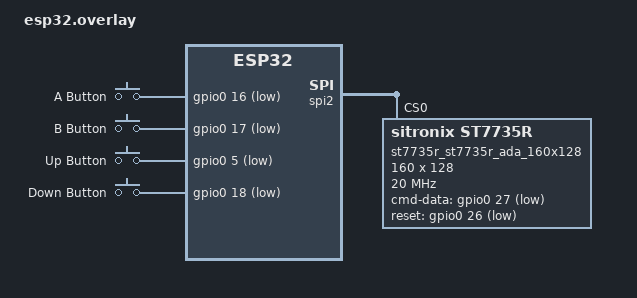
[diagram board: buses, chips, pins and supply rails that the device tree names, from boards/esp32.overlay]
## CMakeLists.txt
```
cmake_minimum_required(VERSION 3.20.0)

find_package(Zephyr REQUIRED HINTS $ENV{ZEPHYR_BASE})
find_package(etl REQUIRED)

FILE(GLOB app_sources src/*.cpp)
target_sources(app PRIVATE ${app_sources})
project(gb_emu)

zephyr_include_directories(../modules/etl)
# include_directories(
#     ../emu_core/inc
#     ../emu_core/src
# )

target_link_libraries(app PRIVATE etl::etl)
target_sources(app PRIVATE src/main.cpp)
# ../emu_core/src/cpu.cpp
# ../emu_core/src/registers.cpp
# ../emu_core/src/process.cpp
# ../emu_core/src/instructions.cpp
# ../emu_core/src/cart.cpp
# )
# add_library(etl::etl STATIC IMPORTED GLOBAL)
# set_target_properties(etl::etl PROPERTIES IMPORTED_LOCATION ${LIB_DIR}/OtherLib.a)
```

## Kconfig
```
source "Kconfig.zephyr"

config METHOD_USE_STAGING
	bool "Point the device at the staging environment"
	default n


config METHOD_HUB_DEVICE_ENABLED
	bool "Replace the device implementation with mocks"
	default n


config METHOD_HUB_CLOUD_ENABLED
	bool "Replace the cloud implementation with mocks"
	default n


config METHOD_HUB_STORAGE_ENABLED
	bool "Replace the storage implementation with mocks"
	default n


config METHOD_HUB_AUX_ENABLED
	bool "Replace the aux implementation with mocks"
	default n


config METHOD_MOCK_ELMO
	bool "Replace the elmo implementation with mocks"
	default n


config METHOD_MOCK_GPB100D
	bool "Replace the gpb100d implementation with mocks"
	default n
```

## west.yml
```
# The west manifest file for upstream Zephyr.
#
# The per-installation west configuration file, .west/config, sets the
# path to the project containing this file in the [manifest] section's
# "path" variable.
#
# You are free to create your own manifest files and put them in any
# repository you want, to create your own custom Zephyr installations.
# For example, you could create a manifest file in your own out of
# tree application directory, which would pull this zephyr repository
# in as an ordinary project.
#
# You can pass your manifest repositories to west init when creating a
# new Zephyr installation. See the west documentation for more
# information.

manifest:
  defaults:
    remote: upstream

  remotes:
    - name: upstream
      url-base: https://github.com/zephyrproject-rtos
    - name: babblesim
      url-base: https://github.com/BabbleSim
    - name: etl
      url-base: https://github.com/ETLCPP

  group-filter: [-babblesim]

  #
  # Please add items below based on alphabetical order
  projects:
    - name: bsim
      repo-path: babblesim-manifest
      revision: 384a091445c57b44ac8cbd18ebd245b47c71db94
      path: tools/bsim
      groups:
        - babblesim
    - name: babblesim_base
      remote: babblesim
      repo-path: base.git
      path: tools/bsim/components
      revision: 19d62424c0802c6c9fc15528febe666e40f372a1
      groups:
        - babblesim
    - name: babblesim_ext_2G4_libPhyComv1
      remote: babblesim
      repo-path: ext_2G4_libPhyComv1.git
      path: tools/bsim/components/ext_2G4_libPhyComv1
      revision: 9018113a362fa6c9e8f4b9cab9e5a8f12cc46b94
      groups:
        - babblesim
    - name: babblesim_ext_2G4_phy_v1
      remote: babblesim
      repo-path: ext_2G4_phy_v1.git
      path: tools/bsim/components/ext_2G4_phy_v1
      revision: d47c6dd90035b41b14f6921785ccb7b8484868e2
      groups:
        - babblesim
    - name: babblesim_ext_2G4_channel_NtNcable
      remote: babblesim
      repo-path: ext_2G4_channel_NtNcable.git
      path: tools/bsim/components/ext_2G4_channel_NtNcable
      revision: 20a38c997f507b0aa53817aab3d73a462fff7af1
      groups:
        - babblesim
    - name: babblesim_ext_2G4_channel_multiatt
      remote: babblesim
      repo-path: ext_2G4_channel_multiatt.git
      path: tools/bsim/components/ext_2G4_channel_multiatt
      revision: bde72a57384dde7a4310bcf3843469401be93074
      groups:
        - babblesim
    - name: babblesim_ext_2G4_modem_magic
      remote: babblesim
      repo-path: ext_2G4_modem_magic.git
      path: tools/bsim/components/ext_2G4_modem_magic
      revision: cb70771794f0bf6f262aa474848611c68ae8f1ed
      groups:
        - babblesim
    - name: babblesim_ext_2G4_modem_BLE_simple
      remote: babblesim
      repo-path: ext_2G4_modem_BLE_simple.git
      path: tools/bsim/components/ext_2G4_modem_BLE_simple
      revision: 809ab073159c9ab6686c2fea5749b0702e0909f7
      groups:
        - babblesim
    - name: babblesim_ext_2G4_device_burst_interferer
      remote: babblesim
      repo-path: ext_2G4_device_burst_interferer.git
      path: tools/bsim/components/ext_2G4_device_burst_interferer
      revision: 5b5339351d6e6a2368c686c734dc8b2fc65698fc
      groups:
        - babblesim
    - name: babblesim_ext_2G4_device_WLAN_actmod
      remote: babblesim
      repo-path: ext_2G4_device_WLAN_actmod.git
      path: tools/bsim/components/ext_2G4_device_WLAN_actmod
      revision: 9cb6d8e72695f6b785e57443f0629a18069d6ce4
      groups:
        - babblesim
    - name: babblesim_ext_2G4_device_playback
      remote: babblesim
      repo-path: ext_2G4_device_playback.git
      path: tools/bsim/components/ext_2G4_device_playback
      revision: 85c645929cf1ce995d8537107d9dcbd12ed64036
      groups:
        - babblesim
    - name: babblesim_ext_libCryptov1
      remote: babblesim
      repo-path: ext_libCryptov1.git
      path: tools/bsim/components/ext_libCryptov1
      revision: eed6d7038e839153e340bd333bc43541cb90ba64
      groups:
        - babblesim
    - name: canopennode
      revision: dec12fa3f0d790cafa8414a4c2930ea71ab72ffd
      path: modules/lib/canopennode
    - name: chre
      revision: b7955c27e50485b7dafdc3888d7d6afdc2ac6d96
      path: modules/lib/chre
    - name: cmsis
      revision: 74981bf893e8b10931464b9945e2143d99a3f0a3
      path: modules/hal/cmsis
      groups:
        - hal
    - name: edtt
      revision: 64e5105ad82390164fb73fc654be3f73a608209a
      path: tools/edtt
      groups:
        - tools
    - name: fatfs
      revision: 427159bf95ea49b7680facffaa29ad506b42709b
      path: modules/fs/fatfs
      groups:
        - fs
    - name: hal_altera
      revision: 0d225ddd314379b32355a00fb669eacf911e750d
      path: modules/hal/altera
      groups:
        - hal
    - name: hal_atmel
      revision: 5ab43007eda3f380c125f957f03638d2e8d1144d
      path: modules/hal/atmel
      groups:
        - hal
    - name: hal_espressif
      revision: 9531c1c17873aa4935f85864ebafd20c02062a8f
      path: modules/hal/espressif
      west-commands: west/west-commands.yml
      groups:
        - hal
    - name: hal_ethos_u
      revision: 90ada2ea5681b2a2722a10d2898eac34c2510791
      path: modules/hal/ethos_u
      groups:
        - hal
    - name: hal_gigadevice
      revision: 2994b7dde8b0b0fa9b9c0ccb13474b6a486cddc3
      path: modules/hal/gigadevice
      groups:
        - hal
    - name: hal_infineon
      revision: 0bebc14d8bd1a249ee7fbc70b37db6f01f72544f
      path: modules/hal/infineon
      groups:
        - hal
    - name: hal_microchip
      revision: 5d079f1683a00b801373bbbbf5d181d4e33b30d5
      path: modules/hal/microchip
      groups:
        - hal
    - name: hal_nordic
      revision: a1c3e0fbaafda091139b8744becd4853ada2f747
      path: modules/hal/nordic
      groups:
        - hal
    - name: hal_nuvoton
      revision: 8a2b5de1670b59fcacd20d7495cb1c0f26fbe7bd
      path: modules/hal/nuvoton
      groups:
        - hal
    - name: hal_nxp
      revision: 904830e8f684a9fd573751a1cdecde877ec49242
      path: modules/hal/nxp
      groups:
        - hal
    - name: hal_openisa
      revision: d1e61c0c654d8ca9e73d27fca3a7eb3b7881cb6a
      path: modules/hal/openisa
      groups:
        - hal
    - name: hal_quicklogic
      revision: b3a66fe6d04d87fd1533a5c8de51d0599fcd08d0
      path: modules/hal/quicklogic
      repo-path: hal_quicklogic
      groups:
        - hal
    - name: hal_renesas
      path: modules/hal/renesas
      revision: f2d791d28cd8fdbc5861652b863822632c91f690
      groups:
        - hal
    - name: hal_rpi_pico
      path: modules/hal/rpi_pico
      revision: b7801e4db6a62ea2d37bbef7880c3d056530c9bf
      groups:
        - hal
    - name: hal_silabs
      revision: a143f03e846eb1b7b3135f3c8192820ce1b6d9c4
      path: modules/hal/silabs
      groups:
        - hal
    - name: hal_st
      revision: 5948f7b3304f1628a45ee928cd607619a7f53bbb
      path: modules/hal/st
      groups:
        - hal
    - name: hal_stm32
      revision: c865374fc83d93416c0f380e6310368ff55d6ce2
      path: modules/hal/stm32
      groups:
        - hal
    - name: hal_telink
      revision: 38573af589173259801ae6c2b34b7d4c9e626746
      path: modules/hal/telink
      groups:
        - hal
    - name: hal_ti
      revision: ae1db23f32dde779cdfc4afaa9a60ea219310a64
      path: modules/hal/ti
      groups:
        - hal
    - name: hal_wurthelektronik
      revision: 24ca9873c3d608fad1fea0431836bc8f144c132e
      path: modules/hal/wurthelektronik
      groups:
        - hal
    - name: hal_xtensa
      revision: 41a631d4aeeeaedc0daece21eecc338807296ad7
      path: modules/hal/xtensa
      groups:
        - hal
    - name: libmetal
      revision: b91611a6f47dd29fb24c46e5621e797557f80ec6
      path: modules/hal/libmetal
      groups:
        - hal
    - name: liblc3
      revision: 448f3de31f49a838988a162ef1e23a89ddf2d2ed
      path: modules/lib/liblc3
    - name: littlefs
      path: modules/fs/littlefs
      groups:
        - fs
      revision: ca583fd297ceb48bced3c2548600dc615d67af24
    - name: loramac-node
      revision: ce57712f3e426bbbb13acaec97b45369f716f43a
      path: modules/lib/loramac-node
    - name: lvgl
      revision: 7102083f626cda09e5792420ea60af0525cce9ae
      path: modules/lib/gui/lvgl
    - name: lz4
      revision: 8e303c264fc21c2116dc612658003a22e933124d
      path: modules/lib/lz4
    - name: mbedtls
      revision: 6e7841e5a08eb5da3c82dbc8b6b6d82ae4b7d2a0
      path: modules/crypto/mbedtls
      groups:
        - crypto
    - name: mcuboot
      revision: 74c4d1c52fd51d07904b27a7aa9b2303e896a4e3
      path: bootloader/mcuboot
    - name: mipi-sys-t
      path: modules/debug/mipi-sys-t
      groups:
        - debug
      revision: a819419603a2dfcb47f7f39092e1bc112e45d1ef
    - name: nanopb
      revision: 42fa8b211e946b90b9d968523fce7b1cfe27617e
      path: modules/lib/nanopb
    - name: net-tools
      revision: e0828aa9629b533644dc96ff6d1295c939bd713c
      path: tools/net-tools
      groups:
        - tools
    - name: nrf_hw_models
      revision: 37c571ef7c4a86dad852566fc43eb36f42534e9f
      path: modules/bsim_hw_models/nrf_hw_models
    - name: open-amp
      revision: c904a01d4a882bcbb39987e0e2ce5308f49ac7ad
      path: modules/lib/open-amp
    - name: openthread
      revision: d9abe3071c0131a4adb5d7e7451319b735e6d855
      path: modules/lib/openthread
    - name: picolibc
      path: modules/lib/picolibc
      revision: d07c38ff051386f8e09a143ea0a6c1d6d66dd1d8
    - name: segger
      revision: 4bfaf28a11c3e5ec29badac744fab6d2f342749e
      path: modules/debug/segger
      groups:
        - debug
    - name: sof
      revision: ffbf9c2a6ea2930b0ac7e3a37c7cd7f5c417d090
      path: modules/audio/sof
    - name: tflite-micro
      revision: 9156d050927012da87079064db59d07f03b8baf6
      path: modules/lib/tflite-micro
      repo-path: tflite-micro
    - name: tinycrypt
      revision: 3e9a49d2672ec01435ffbf0d788db6d95ef28de0
      path: modules/crypto/tinycrypt
      groups:
        - crypto
    - name: TraceRecorderSource
      revision: bc839bf94904bcdb91b33760e918afbef82e3ab4
      path: modules/debug/TraceRecorder
      groups:
        - debug
    - name: trusted-firmware-m
      revision: 79a6115d3a8d0e04864ae8156c1dc8532b750f5a
      path: modules/tee/tf-m/trusted-firmware-m
      groups:
        - tee
    - name: trusted-firmware-a
      revision: 421dc050278287839f5c70019bd6aec617f2bbdb
      path: modules/tee/tf-a/trusted-firmware-a
      groups:
        - tee
    - name: tf-m-tests
      revision: 0f80a65193ddbbe3f0ac38b33b07b26138c11fa7
      path: modules/tee/tf-m/tf-m-tests
      groups:
        - tee
    - name: psa-arch-tests
      revision: 6a17330e0dfb5f319730f974d5b05f7b7f04757b
      path: modules/tee/tf-m/psa-arch-tests
      groups:
        - tee
    - name: uoscore-uedhoc
      revision: e8920192b66db4f909eb9cd3f155d5245c1ae825
      path: modules/lib/uoscore-uedhoc
    - name: zcbor
      revision: 67fd8bb88d3136738661fa8bb5f9989103f4599e
      path: modules/lib/zcbor
    - name: zscilib
      path: modules/lib/zscilib
      revision: 34c3432e81085bb717e4871d21ca419ae0058ec5
    - name: thrift
      path: modules/lib/thrift
      revision: 10023645a0e6cb7ce23fcd7fd3dbac9f18df6234
    - name: etl
      remote: etl
      repo-path: etl
      revision: 20.36.1
      path: modules/etl

  self:
    path: zephyr
    west-commands: scripts/west-commands.yml
    import: submanifests
```

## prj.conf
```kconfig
CONFIG_CPP=y
CONFIG_LIB_CPLUSPLUS=y
CONFIG_NEWLIB_LIBC=y

# Display
CONFIG_DISPLAY=y
CONFIG_DISPLAY_LOG_LEVEL_ERR=y

CONFIG_LVGL=y
CONFIG_LV_MEM_CUSTOM=n
CONFIG_LV_USE_LOG=y
CONFIG_LV_USE_LABEL=y
CONFIG_LV_USE_BTN=y
# CONFIG_LV_USE_IMG=y
CONFIG_LV_FONT_MONTSERRAT_34=y
CONFIG_LV_FONT_MONTSERRAT_20=y
CONFIG_LV_COLOR_16_SWAP=y

# System config
CONFIG_MAIN_STACK_SIZE=2048
CONFIG_LOG=y

CONFIG_CONSOLE=y
CONFIG_UART_CONSOLE=y
CONFIG_UART_LINE_CTRL=y
```

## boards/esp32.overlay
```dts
/*
 * Copyright (c) 2020, Kim Bøndergaard, <kim@fam-boendergaard.dk>
 *
 * SPDX-License-Identifier: Apache-2.0
 */

 / {
	chosen {
		zephyr,display = &st7735r_st7735r_ada_160x128;
	};
	buttons {
		compatible = "gpio-keys";
		a_button: a_button {
			gpios = <&gpio0 16 GPIO_ACTIVE_LOW>;
			label = "A Button";
		};
		b_button: b_button {
			gpios = <&gpio0 17 GPIO_ACTIVE_LOW>;
			label = "B Button";
		};
		up_button: up_button {
			gpios = <&gpio0 5 GPIO_ACTIVE_LOW>;
			label = "Up Button";
		};
		down_button: down_button {
			gpios = <&gpio0 18 GPIO_ACTIVE_LOW>;
			label = "Down Button";
		};
	};
};

&spi2 {
	st7735r_st7735r_ada_160x128: st7735r@0 {
		compatible = "sitronix,st7735r";
		spi-max-frequency = <20000000>;
		reg = <0>;
		cmd-data-gpios = <&gpio0 27 GPIO_ACTIVE_LOW>;	/* D9 */
		reset-gpios = <&gpio0 26 GPIO_ACTIVE_LOW>;	/* D8 */
		width = <160>;
		height = <128>;
		x-offset = <0>;
		y-offset = <0>;
		madctl = <0x60>;
		colmod = <0x55>;
		vmctr1 = <0x0e>;
		pwctr1 = [a2 02 84];
		pwctr2 = [c5];
		pwctr3 = [0a 00];
		pwctr4 = [8a 2a];
		pwctr5 = [8a ee];
		frmctr1 = [01 2c 2d];
		frmctr2 = [01 2c 2d];
		frmctr3 = [01 2c 2d 01 2c 2d];
		gamctrp1 = [02 1c 07 12 37 32 29 2d 29 25 2b 39 00 01 03 10];
		gamctrn1 = [03 1d 07 06 2e 2c 29 2d 2e 2e 37 3f 00 00 02 10];
	};
};

&pinctrl {
	spim2_default: spim2_default {
		group1 {
			pinmux = <SPIM2_MISO_GPIO12>,
					<SPIM2_SCLK_GPIO14>,
					<SPIM2_CSEL_GPIO15>;
		};
		group2 {
			pinmux = <SPIM2_MOSI_GPIO13>;
			output-low;
		};
	};
};
```

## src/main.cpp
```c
#include <zephyr/kernel.h>
#include <zephyr/logging/log.h>
LOG_MODULE_REGISTER(main, LOG_LEVEL_INF);

#include "../inc/display.hh"
#include "../inc/controls.hh"
#include "../inc/engine.hh"


int main(void)
{
	Controls controls { };
	Display  display  { };
	Engine   engine   { &controls, &display };

	while (1)
	{
		engine.process();
		k_msleep(1);
	}
	return 0;
}
```

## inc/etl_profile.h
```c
#pragma once

#define ETL_NO_STL
#define ETL_CPP11_SUPPORTED
// #define ETL_CPP14_SUPPORTED
// #define ETL_CPP17_SUPPORTED
```

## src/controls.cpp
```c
#include "../inc/controls.hh"
#include <zephyr/kernel.h>
#include <zephyr/logging/log.h>
LOG_MODULE_REGISTER(controls, LOG_LEVEL_DBG);



etl::queue<Controls::InputType, Controls::INPUT_QUEUE_SIZE> Controls::input_queue { };
Controls::TriggerType           Controls::trigger_mapping[InputType::NUM_INPUTS]  {
    // Controls::TriggerType::ONE_SHOT,
    // Controls::TriggerType::ONE_SHOT,
    Controls::TriggerType::PERIODIC,
    Controls::TriggerType::PERIODIC,
    Controls::TriggerType::PERIODIC,
    Controls::TriggerType::PERIODIC,
    Controls::TriggerType::PERIODIC,
    Controls::TriggerType::PERIODIC
};

struct gpio_callback            Controls::cb_data[InputType::NUM_INPUTS]    { };
struct k_timer                  Controls::button_timers[InputType::NUM_INPUTS]    { };

struct gpio_dt_spec Controls::button[InputType::NUM_INPUTS] {
    GPIO_DT_SPEC_GET(DT_NODELABEL(a_button), gpios),
    GPIO_DT_SPEC_GET(DT_NODELABEL(b_button), gpios),
    GPIO_DT_SPEC_GET(DT_NODELABEL(up_button), gpios),
    GPIO_DT_SPEC_GET(DT_NODELABEL(down_button), gpios)
};

uint64_t Controls::last_time[InputType::NUM_INPUTS] {};

#define DEBOUNCE_TIMEOUT_MS 150
#define TIMER_RETRIGGER_MS 50


/*
    Button timer handlers
*/
void Controls::timer_handler(Controls::InputType input)
{
    Controls::input_queue.push(input);

    if(!gpio_pin_get_dt(&button[input]))
    {
        k_timer_stop(&button_timers[input]);
    }
}


void Controls::a_button_timer_handler(struct k_timer *dummy)
{
    Controls::timer_handler(InputType::A);
}


void Controls::b_button_timer_handler(struct k_timer *dummy)
{
   Controls::timer_handler(InputType::B);
}


void Controls::up_button_timer_handler(struct k_timer *dummy)
{
   Controls::timer_handler(InputType::UP);
}


void Controls::down_button_timer_handler(struct k_timer *dummy)
{
   Controls::timer_handler(InputType::DOWN);
}


void Controls::clear_queue()
{
}


Controls::Controls()
{
    if (device_is_ready(button[Controls::InputType::A].port))
    {
        int ret = gpio_pin_configure_dt(&button[Controls::InputType::A], GPIO_INPUT);

        ret = gpio_pin_interrupt_configure_dt(&button[Controls::InputType::A], GPIO_INT_EDGE_TO_ACTIVE);
        gpio_init_callback(&cb_data[InputType::A], this->a_button_pressed , BIT(button[Controls::InputType::A].pin));
        gpio_add_callback(button[Controls::InputType::A].port, &cb_data[InputType::A]);
        k_timer_init(&Controls::button_timers[Controls::InputType::A], a_button_timer_handler, NULL);
    }

    if (device_is_ready(button[Controls::InputType::B].port))
    {
        int ret = gpio_pin_configure_dt(&button[Controls::InputType::B], GPIO_INPUT);

        ret = gpio_pin_interrupt_configure_dt(&button[Controls::InputType::B], GPIO_INT_EDGE_TO_ACTIVE);
        gpio_init_callback(&cb_data[InputType::B], this->b_button_pressed , BIT(button[Controls::InputType::B].pin));
        gpio_add_callback(button[Controls::InputType::B].port, &cb_data[InputType::B]);
        k_timer_init(&Controls::button_timers[Controls::InputType::B], b_button_timer_handler, NULL);
    }

    if (device_is_ready(button[Controls::InputType::UP].port))
    {
        int ret = gpio_pin_configure_dt(&button[Controls::InputType::UP], GPIO_INPUT);

        ret = gpio_pin_interrupt_configure_dt(&button[InputType::UP], GPIO_INT_EDGE_TO_ACTIVE);
        gpio_init_callback(&cb_data[InputType::UP], this->up_button_pressed , BIT(button[InputType::UP].pin));
        gpio_add_callback(button[InputType::UP].port, &cb_data[InputType::UP]);
        k_timer_init(&Controls::button_timers[InputType::UP], up_button_timer_handler, NULL);
    }

    if (device_is_ready(button[Controls::InputType::DOWN].port))
    {
        int ret = gpio_pin_configure_dt(&button[InputType::DOWN], GPIO_INPUT);

        ret = gpio_pin_interrupt_configure_dt(&button[InputType::DOWN], GPIO_INT_EDGE_TO_ACTIVE);
        gpio_init_callback(&cb_data[InputType::DOWN], this->down_button_pressed , BIT(button[InputType::DOWN].pin));
        gpio_add_callback(button[Controls::InputType::DOWN].port, &cb_data[InputType::DOWN]);
        k_timer_init(&Controls::button_timers[InputType::DOWN], down_button_timer_handler, NULL);
    }

}


Controls::~Controls()
{

}


const Controls::InputType Controls::get_last_pressed()
{
    if(!input_queue.empty())
    {
        Controls::InputType last_pressed;
        input_queue.pop_into(last_pressed);
        return last_pressed;
    }

    return Controls::InputType::NONE;
}


/*
    Button Handlers
*/
void Controls::handle_button(Controls::InputType input)
{
    uint64_t now = k_uptime_get();
    if ((now - Controls::last_time[input]) > DEBOUNCE_TIMEOUT_MS)
    {
        if(Controls::trigger_mapping[input] == Controls::TriggerType::PERIODIC)
        {
            k_timer_start(&button_timers[input],
                        K_MSEC(TIMER_RETRIGGER_MS),
                        K_MSEC(TIMER_RETRIGGER_MS));
        }
        else if(Controls::trigger_mapping[input] == Controls::TriggerType::ONE_SHOT)
        {
            Controls::input_queue.push(input);
        }
    }

    Controls::last_time[input] = now;
}


void Controls::a_button_pressed(const struct device *dev,
                                struct gpio_callback* cb,
                                uint32_t pins)
{
    handle_button(InputType::A);
}

void Controls::b_button_pressed(const struct device *dev,
                                struct gpio_callback* cb,
                                uint32_t pins)
{
    handle_button(InputType::B);

}

void Controls::up_button_pressed(const struct device *dev,
                                    struct gpio_callback* cb,
                                    uint32_t pins)
{
    handle_button(InputType::UP);
}

void Controls::down_button_pressed(const struct device *dev,
                                    struct gpio_callback* cb,
                                    uint32_t pins)
{
    handle_button(InputType::DOWN);
}
```

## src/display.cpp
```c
#include "../inc/display.hh"

#include <zephyr/kernel.h>
#include <zephyr/logging/log.h>
LOG_MODULE_REGISTER(display, LOG_LEVEL_INF);

#include <lvgl.h>


Display::Display()
{
    init_display();
}


Display::~Display()
{
}

void Display::init_display()
{
	display_dev = DEVICE_DT_GET(DT_CHOSEN(zephyr_display));

	if (!device_is_ready(display_dev))
	{
		LOG_ERR("Device %s not found. Aborting sample.", display_dev->name);

		// return 0;
	}

	LOG_INF("Display sample for %s", display_dev->name);
	display_get_capabilities(display_dev, &capabilities);
    // lv_init();
    lv_task_handler();
	display_blanking_off(display_dev);
}


void Display::draw_frame(graphics::frame_t& frame)
{
	// lv_task_handler();
}
```

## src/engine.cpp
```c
#include "../inc/engine.hh"


void Engine::process_input()
{
    auto last_control = p_controls->get_last_pressed();

    if(game_playing)
    {
        p_current_game->process_input(last_control);
    }
    else
    {
        main_menu.process_input(last_control);
    }
}

void Engine::process_frame()
{
    if(game_playing)
    {
        p_current_game->draw();
    }
    else
    {
        main_menu.draw();
    }
}


void Engine::process()
{
    process_input();
    process_frame();

    if(game_playing && p_current_game->ready_to_close())
    {
        // change_state(State::MENU);
        game_playing = false;
        main_menu.show();
    }
    else if(!game_playing && main_menu.ready_to_close())
    {
        // change_state(State::GAME);
        game_playing = true;
        p_current_game->show();
    }
}


void Engine::change_state(State new_state)
{
    // StateBase* tmp { nullptr };

    // switch(new_state)
    // {
    //     case State::MENU: tmp = new MenuState(); break;
    //     case State::GAME: tmp = new PongGame();  break;
    //     default: break;
    // }
    switch(new_state)
    {
        case State::MENU: game_playing = false; break;
        case State::GAME: start_game();  break;
        default: break;
    }

    // if(tmp)
    // {
    //     delete p_current_game;
    //     p_current_game = tmp;
    //     current_state = new_state;
    //     // p_controls->set_trigger_map(p_current_state.get_trigger_map());
    // }
}

    void Engine::start_game()
    {
        game_playing = true;
    }
```

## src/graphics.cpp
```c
#include "../inc/graphics.hh"


namespace graphics
{
	void draw_text(frame_t frame, int x, int y, const char* text)
	{
		lv_draw_label_dsc_t label_dsc;
		lv_draw_label_dsc_init(&label_dsc);
		label_dsc.color = black;
		lv_canvas_draw_text(frame, x, y, 120, &label_dsc, text);
	}


	void draw_rect(frame_t frame, int x, int y, int width, int height, lv_color_t col)
	{
		lv_draw_rect_dsc_t rect_dsc;
		lv_draw_rect_dsc_init(&rect_dsc);
		rect_dsc.radius = 5;
		rect_dsc.bg_opa = LV_OPA_COVER;
		rect_dsc.bg_color = col;
		rect_dsc.border_width = 0;
		rect_dsc.border_opa = LV_OPA_0;
		lv_canvas_draw_rect((lv_obj_t*)frame, x, y, width, height, &rect_dsc);
	}


	void draw_rect(frame_t frame, pos_t pos, int width, int height, lv_color_t col)
	{
		draw_rect(frame, pos.x, pos.y, width, height, col);
	}


	bool entities_colliding(const graphics::entity_t& a, const graphics::entity_t& b)
	{
		int x1_right  = a.pos.x + a.w;
		int y1_bottom = a.pos.y + a.h;
		int x2_right  = b.pos.x + b.w;
		int y2_bottom = b.pos.y + b.h;

		// # Check if the boxes are not overlapping
		if (a.pos.x > x2_right  ||
			b.pos.x > x1_right  ||
			a.pos.y > y2_bottom ||
			b.pos.y > y1_bottom)
			return false;

		return true;
	}

}
```

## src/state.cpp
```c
#include "../inc/state.hh"

#include <zephyr/kernel.h>
#include <zephyr/logging/log.h>
LOG_MODULE_REGISTER(menu, LOG_LEVEL_DBG);


PongGame::PongGame()
{
    lv_init();
    frame = lv_canvas_create(lv_scr_act());
    lv_canvas_set_buffer(frame, cbuf, CANVAS_WIDTH, CANVAS_HEIGHT, LV_IMG_CF_TRUE_COLOR_CHROMA_KEYED);
	lv_obj_set_scrollbar_mode(lv_scr_act(), LV_SCROLLBAR_MODE_OFF);
	lv_obj_set_scrollbar_mode(frame, LV_SCROLLBAR_MODE_OFF);
    lv_obj_align(frame, LV_ALIGN_CENTER, 0, 0);
}


PongGame::~PongGame()
{

}


void PongGame::draw_background()
{
    lv_canvas_fill_bg(frame, graphics::blue, LV_OPA_COVER);
}


void PongGame::draw_paddles()
{
	graphics::draw_rect(frame, player_a.pos, player_a.w, player_a.h, graphics::red);
	graphics::draw_rect(frame, player_b.pos, player_b.w, player_b.h, graphics::purple);
}


void PongGame::draw_ball()
{
    graphics::draw_rect(frame, ball.pos, ball.w, ball.h);
}


void PongGame::draw_ready_to_play_state()
{
    draw_background();

    graphics::draw_text(frame, 70, 50, "Pong");
    graphics::draw_text(frame, 50, 75, "Start Game");
}


void PongGame::draw_playing_state()
{
    handle_collision();
    draw_background();
    draw_paddles();
    draw_ball();
}


void PongGame::draw_game_finished_state()
{
    draw_background();

    graphics::draw_text(frame, 70, 50, "Game Over Yo");
    game_info.player_a_score = 0;
    game_info.player_b_score = 0;
}


void PongGame::draw()
{
    switch(play_state)
    {
        case PlayState::READY_TO_PLAY:  draw_ready_to_play_state();  break;
        case PlayState::PLAYING:        draw_playing_state();        break;
        case PlayState::GAME_FINISHED:  draw_game_finished_state();  break;
        default: break;
    }
	lv_task_handler();
}


void PongGame::handle_collision()
{
    ball.pos.x += ball.velocity.x;
    ball.pos.y += ball.velocity.y;

    if(x_out_of_bounds(ball.pos.x))
    {
        if(player_a_scored(ball.pos.x))
        {
            game_info.player_a_score++;
            ball.pos.x = ball_start.x;
            ball.pos.y = ball_start.y;
        }
        if(player_b_scored(ball.pos.x))
        {
            game_info.player_b_score++;
            ball.pos.x = ball_start.x;
            ball.pos.y = ball_start.y;
        }
        if(somebody_won())
        {
            play_state = PlayState::GAME_FINISHED;
        }
    }

    // Ball was getting stuck and oscillating.
    // Let it get away from the paddle after a bounce
    // before doing another collision check
    if(n_ticks > 20)
    {
        n_ticks = 0;
        bounced=false;
    }

    if ((graphics::entities_colliding(ball, player_a) ||
        graphics::entities_colliding(ball, player_b)) &&
        !bounced)
    {
        ball.velocity.x = -ball.velocity.x;
        bounced = true;
    }

    // Bounce off the top and bottom of the screen
    if (y_out_of_bounds(ball.pos.y))
    {
        ball.velocity.y = -ball.velocity.y;
    }

    n_ticks++;
}


void check_endgoal_areas()
{

}

/* Button actions */
void PongGame::start_game()
{
    game_info.player_a_score = 0;
    game_info.player_b_score = 0;
    play_state = PlayState::PLAYING;
}


void PongGame::continue_game()
{

}


void PongGame::back_to_start_menu()
{
    play_state = PlayState::READY_TO_PLAY;
}


/* Button handlers */
void PongGame::handle_a_button()
{
    LOG_INF("A button pressed");
    switch(play_state)
    {
        case PlayState::READY_TO_PLAY:  start_game();         break;
        case PlayState::GAME_FINISHED:  back_to_start_menu(); break;
        case PlayState::PLAYING:        move_player_b_up();   break;
        default: break;
    }
}


void PongGame::handle_b_button()
{
    switch(play_state)
    {
        case PlayState::PLAYING:  move_player_b_down(); break;
        case PlayState::READY_TO_PLAY:
        case PlayState::GAME_FINISHED:
        default: break;
    }
}


void PongGame::move_player_a_up()
{
    player_a.pos.y -= player_a.velocity.y;
}


void PongGame::move_player_a_down()
{
    player_a.pos.y += player_a.velocity.y;
}


void PongGame::move_player_b_up()
{
    player_b.pos.y -= player_b.velocity.y;
}


void PongGame::move_player_b_down()
{
    player_b.pos.y += player_b.velocity.y;
}


void PongGame::handle_up_button()
{
    switch(play_state)
    {
        case PlayState::PLAYING: move_player_a_up(); break;
        case PlayState::READY_TO_PLAY:
        case PlayState::GAME_FINISHED:
        default: break;
    }
}


void PongGame::handle_down_button()
{
    switch(play_state)
    {
        case PlayState::PLAYING: move_player_a_down(); break;
        case PlayState::READY_TO_PLAY:
        case PlayState::GAME_FINISHED:
        default: break;
    }
}


void PongGame::handle_left_button()   { }
void PongGame::handle_right_button()  { }


/*
    Menu State
*/

MenuState::MenuState()
{

}


MenuState::~MenuState()
{

}


void  MenuState::draw()
{
}

/*
    Button handlers
*/
void MenuState::handle_a_button()
{
    if(option_is_selected)
    {
        process_option(current_option);
    }
    else
    {
        option_is_selected = true;
    }
}


void MenuState::handle_b_button()
{
    option_is_selected = false;
}


void MenuState::handle_up_button()
{
    incr_option();
}


void MenuState::handle_down_button()
{
    decr_option();
}


void MenuState::handle_left_button()
{

}


void MenuState::handle_right_button()
{
}


/*
    Menu option processing
*/
void MenuState::incr_option()
{
    uint8_t op_int = (uint8_t)current_option;

    if(op_int > 0)
    {
        op_int--;
    }
    else
    {
        op_int = (NUM_OPTIONS - 1);
    }

    current_option = (MenuState::Option)op_int;
}


void MenuState::decr_option()
{
    // if(current_option < NUM_OPTIONS) current_option++;
}


void MenuState::process_option(const MenuState::Option option)
{
    switch(option)
    {
        case MenuState::Option::START_GAME: start_game(); break;
        case MenuState::Option::SHUT_DOWN:  shut_down(); break;
        default: break;
    }
}


void MenuState::start_game()
{

}


void MenuState::shut_down()
{

}
```
